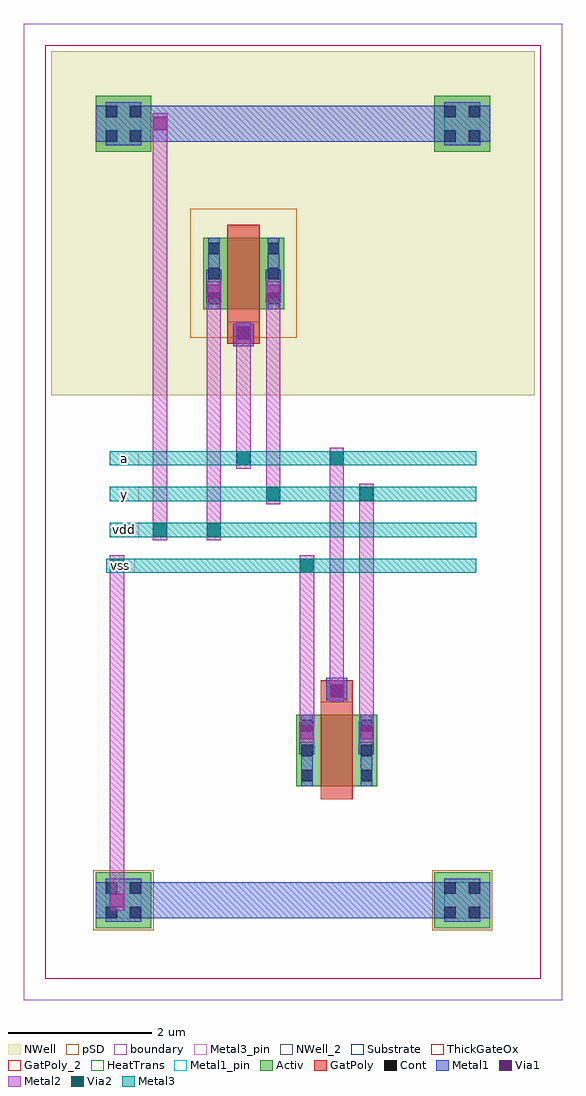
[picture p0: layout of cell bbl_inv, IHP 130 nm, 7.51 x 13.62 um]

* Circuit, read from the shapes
.subckt bbl_inv a vdd vss y
XM1 y a vss vss sg13_hv_nmos w=1u l=0.45u
XM2 y a vdd vdd sg13_hv_pmos w=1u l=0.45u
.ends

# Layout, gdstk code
import gdstk
lib = gdstk.Library(unit=1e-6, precision=1e-09)
def R(c, l, rs):  # rectangles x0, y0, x1, y1
    for r in rs: c.add(gdstk.rectangle(r[:2], r[2:], *l))
def A(c, l, x, y, w, h, nx, ny, dx, dy):  # array of equal rectangles
    R(c, l, [(x+i*dx, y+j*dy, x+i*dx+w, y+j*dy+h) for i in range(nx) for j in range(ny)])
Activ = (1, 0)
GatPoly = (5, 0)
GatPoly_2 = (5, 2)
Cont = (6, 0)
Metal1 = (8, 0)
Metal1_pin = (8, 2)
Metal2 = (10, 0)
pSD = (14, 0)
Via1 = (19, 0)
Via2 = (29, 0)
Metal3 = (30, 0)
Metal3_pin = (30, 2)
NWell = (31, 0)
NWell_2 = (31, 2)
Substrate = (40, 0)
ThickGateOx = (44, 0)
HeatTrans = (51, 0)
boundary = (189, 4)

pmoshv_5 = lib.new_cell('pmosHV$5')
R(pmoshv_5, Activ, [(0,0,0.3,0.3), (0,0,1.13,1), (0.83,0,1.13,0.3)])
R(pmoshv_5, GatPoly, [(0.34,-0.18,0.79,1.18)])
R(pmoshv_5, GatPoly_2, [(0.34,-0.18,0.79,1.18)])
A(pmoshv_5, Cont, 0.07, 0.07, 0.16, 0.16, 1, 3, 0, 0.35)
A(pmoshv_5, Cont, 0.9, 0.07, 0.16, 0.16, 1, 3, 0, 0.35)
R(pmoshv_5, Metal1, [(0.07,0,0.23,1), (0.9,0,1.06,1)])
R(pmoshv_5, Metal1_pin, [(0.07,0,0.23,1), (0.9,0,1.06,1)])
R(pmoshv_5, pSD, [(-0.18,-0.4,1.31,1.4)])
R(pmoshv_5, NWell, [(-0.62,-0.62,1.75,1.62)])
R(pmoshv_5, ThickGateOx, [(-0.62,-0.62,1.75,1.62)])
R(pmoshv_5, HeatTrans, [(0.34,-0.18,0.79,1.18)])
pmoshv_5.add(gdstk.Label('pmosHV', (0.565,0.5), layer=63, texttype=0))
pmoshv_5.add(gdstk.Label('pmos', (0.565,0.5), layer=51, texttype=0))

nmoshv_14 = lib.new_cell('nmosHV$14')
R(nmoshv_14, Activ, [(0,0,0.3,0.3), (0,0,1.13,1), (0.83,0,1.13,0.3)])
R(nmoshv_14, GatPoly, [(0.34,-0.18,0.79,1.18)])
R(nmoshv_14, GatPoly_2, [(0.34,-0.18,0.79,1.18)])
A(nmoshv_14, Cont, 0.07, 0.07, 0.16, 0.16, 1, 3, 0, 0.35)
A(nmoshv_14, Cont, 0.9, 0.07, 0.16, 0.16, 1, 3, 0, 0.35)
R(nmoshv_14, Metal1, [(0.07,0,0.23,1), (0.9,0,1.06,1)])
R(nmoshv_14, Metal1_pin, [(0.07,0,0.23,1), (0.9,0,1.06,1)])
R(nmoshv_14, ThickGateOx, [(-0.27,-0.52,1.4,1.52)])
R(nmoshv_14, HeatTrans, [(0.34,-0.18,0.79,1.18)])
nmoshv_14.add(gdstk.Label('nmosHV', (0.565,0.5), layer=63, texttype=0))
nmoshv_14.add(gdstk.Label('nmosHV', (0.565,0.5), layer=51, texttype=0))

ptap1 = lib.new_cell('ptap1')
R(ptap1, Activ, [(0,0,0.78,0.78)])
R(ptap1, Cont, [(0.14,0.14,0.3,0.3), (0.48,0.14,0.64,0.3), (0.14,0.48,0.3,0.64), (0.48,0.48,0.64,0.64)])
R(ptap1, Metal1, [(0.14,0.09,0.64,0.69), (0.14,0.14,0.64,0.64)])
R(ptap1, Metal1_pin, [(0.14,0.14,0.64,0.64)])
R(ptap1, pSD, [(-0.03,-0.03,0.81,0.81)])
R(ptap1, Substrate, [(0,0,0.78,0.78)])
ptap1.add(gdstk.Label('sub!', (0.39,0.01), layer=63, texttype=0))
ptap1.add(gdstk.Label('sub!', (0.39,0.01), layer=40, texttype=0))

ntap1 = lib.new_cell('ntap1')
R(ntap1, Activ, [(0,0,0.78,0.78)])
R(ntap1, Cont, [(0.14,0.14,0.3,0.3), (0.48,0.14,0.64,0.3), (0.14,0.48,0.3,0.64), (0.48,0.48,0.64,0.64)])
R(ntap1, Metal1, [(0.14,0.09,0.64,0.69)])
R(ntap1, Metal1_pin, [(0.14,0.09,0.64,0.69), (0.14,0.14,0.64,0.64)])
R(ntap1, NWell, [(-0.24,-0.24,1.02,1.02), (0,0,0.78,0.78)])
R(ntap1, NWell_2, [(0,0,0.78,0.78)])
ntap1.add(gdstk.Label('well', (0.39,0.01), layer=31, texttype=0))
ntap1.add(gdstk.Label('well', (0.39,0.01), layer=63, texttype=0))

bbl_inv = lib.new_cell('bbl_inv')
R(bbl_inv, GatPoly, [(3.14,3.05,3.59,3.46), (1.84,8.16,2.29,8.57)])
R(bbl_inv, Cont, [(3.285,3.23,3.445,3.39), (1.985,8.23,2.145,8.39)])
R(bbl_inv, Metal1, [(0,0.14,5.51,0.64), (2.845,2.43,3.055,2.88), (3.675,2.43,3.885,2.88), (3.22,3.18,3.51,3.5), (1.92,8.12,2.21,8.44), (1.545,8.74,1.755,9.19), (2.375,8.74,2.585,9.19), (0,10.98,5.51,11.48)])
R(bbl_inv, Metal2, [(0.2,0.245,0.4,5.205), (2.85,2.59,3.05,5.205), (3.68,2.59,3.88,6.205), (3.265,3.165,3.465,6.705), (0.8,5.415,1,11.375), (1.55,5.415,1.75,9.03), (2.38,5.915,2.58,9.03), (1.965,6.415,2.165,8.455)])
R(bbl_inv, Via1, [(0.205,0.295,0.395,0.485), (2.855,2.64,3.045,2.83), (3.685,2.64,3.875,2.83), (3.27,3.215,3.46,3.405), (1.97,8.215,2.16,8.405), (1.555,8.79,1.745,8.98), (2.385,8.79,2.575,8.98), (0.805,11.135,0.995,11.325)])
R(bbl_inv, Via2, [(0.205,4.965,0.395,5.155), (2.855,4.965,3.045,5.155), (0.805,5.465,0.995,5.655), (1.555,5.465,1.745,5.655), (2.385,5.965,2.575,6.155), (3.685,5.965,3.875,6.155), (1.97,6.465,2.16,6.655), (3.27,6.465,3.46,6.655)])
A(bbl_inv, Metal3, 0.2, 5.46, 5.11, 0.2, 1, 3, 0, 0.5)
R(bbl_inv, Metal3, [(0.15,4.96,5.31,5.16)])
A(bbl_inv, Metal3_pin, 0.2, 5.46, 0.4, 0.2, 1, 3, 0, 0.5)
R(bbl_inv, Metal3_pin, [(0.15,4.96,0.55,5.16)])
R(bbl_inv, NWell, [(-0.62,7.44,6.13,12.24)])
R(bbl_inv, ThickGateOx, [(-0.7,-0.7,6.21,12.32)])
R(bbl_inv, boundary, [(-1,-1,6.51,12.62)])
bbl_inv.add(gdstk.Reference(pmoshv_5, (1.5,9.64), x_reflection=True))
bbl_inv.add(gdstk.Reference(nmoshv_14, (2.8,1.98)))
bbl_inv.add(gdstk.Reference(ptap1, (0,0)))
bbl_inv.add(gdstk.Reference(ptap1, (4.725,0)))
bbl_inv.add(gdstk.Reference(ntap1, (0,10.84)))
bbl_inv.add(gdstk.Reference(ntap1, (4.725,10.84)))
bbl_inv.add(gdstk.Label('vdd', (0.4,5.56), layer=30, texttype=25))
bbl_inv.add(gdstk.Label('y', (0.4,6.06), layer=30, texttype=25))
bbl_inv.add(gdstk.Label('a', (0.4,6.56), layer=30, texttype=25))
bbl_inv.add(gdstk.Label('vss', (0.35,5.06), layer=30, texttype=25))

lib.write_gds('bbl_inv.gds')
